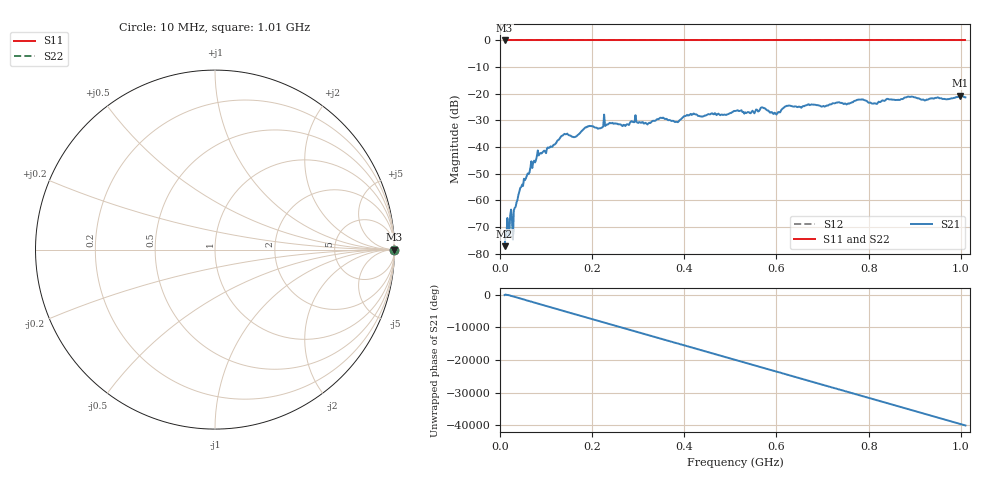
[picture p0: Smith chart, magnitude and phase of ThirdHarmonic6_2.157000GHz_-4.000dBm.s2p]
! 8/17/2025 1:44:51 AM
! C:\ANRITSUVNA\TEMP\TEMP.S2P
! CHANNEL.1
! TR.MEASUREMENT
! RAW.DATA
! RF.CORRECTION.OFF
! AVERAGING.OFF
! IF.BANDWIDTH: 5KHZ
! SWEEPTYPE:  FREQ.SWEEP(Linear)
! Reference Plane Port Info
! PORT:  PORT1  PORT2
! DISTANCE:  0  m  0  m
! TIME:  0  s  0  s
! PHASE.OFFSET:  0  deg.  0  deg.
! LOSS:  0  dB  0  dB
! REF.LOSS:  0  dB  0  dB
! REF.FREQ:  0  Hz  0  Hz
! Power Info
! POWER:  -20  dBm  -20  dBm
! EFF.POWER:  -20  dBm  -20  dBm
! SOURCE.ATTEN:  0  dB  0  dB
! TEST.ATTEN:  0  dB  0  dB
# GHZ S RI R 50.0
! FREQ.GHZ  S11RE  S11IM  S21RE  S21IM  S12RE  S12IM  S22RE  S22IM
!; PortSelection: Port_12
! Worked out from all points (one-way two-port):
!   501 points, 10 MHz to 1.01 GHz, reference 50 ohm
!   highest |S21| = -20.75 dB at 998 MHz (marker M1); lowest = -77.2 dB at 10 MHz (marker M2)
!   lowest |S11| = 0.0 dB at 10 MHz (marker M3)
!   |S11| at or under -10 dB: nowhere
!   |S22| runs from 0.0 to 0.0 dB; largest |S21 - S12| = 1.1
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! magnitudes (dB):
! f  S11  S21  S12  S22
! 10 MHz  0.0  -77.2  0.0  0.0
! 20 MHz  0.0  -73.4  0.0  0.0
! 24 MHz  0.0  -63.4  0.0  0.0
! 30 MHz  0.0  -63.7  0.0  0.0
! 44 MHz  0.0  -55.3  0.0  0.0
! 84 MHz  0.0  -43.1  0.0  0.0
! 136 MHz  0.0  -35.7  0.0  0.0
! 162 MHz  0.0  -36.2  0.0  0.0
! 178 MHz  0.0  -33.9  0.0  0.0
! 230 MHz  0.0  -31.8  0.0  0.0
! 268 MHz  0.0  -31.7  0.0  0.0
! 344 MHz  0.0  -29.5  0.0  0.0
! 384 MHz  0.0  -30.6  0.0  0.0
! 416 MHz  0.0  -27.9  0.0  0.0
! 510 MHz  0.0  -26.4  0.0  0.0
! 570 MHz  0.0  -25.1  0.0  0.0
! 598 MHz  0.0  -27.3  0.0  0.0
! 624 MHz  0.0  -24.5  0.0  0.0
! 678 MHz  0.0  -24.0  0.0  0.0
! 844 MHz  0.0  -22.1  0.0  0.0
! 998 MHz  0.0  -20.7  0.0  0.0
! 1.01 GHz  0.0  -21.3  0.0  0.0
